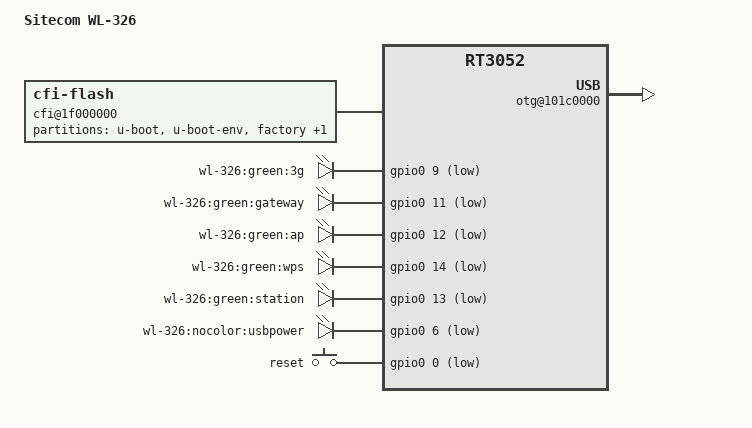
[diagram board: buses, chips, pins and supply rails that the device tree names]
/dts-v1/;

/include/ "rt3050.dtsi"

/ {
	compatible = "WL-326", "ralink,rt3052-soc";
	model = "Sitecom WL-326";

	pinctrl {
		state_default: pinctrl0 {
			gpio {
				ralink,group = "spi", "i2c", "jtag", "rgmii", "mdio", "uartf";
				ralink,function = "gpio";
			};
		};
	};

	cfi@1f000000 {
		compatible = "cfi-flash";
		reg = <0x1f000000 0x800000>;
		bank-width = <2>;
		device-width = <2>;
		#address-cells = <1>;
		#size-cells = <1>;

		partition@0 {
			label = "u-boot";
			reg = <0x0 0x30000>;
			read-only;
		};

		partition@30000 {
			label = "u-boot-env";
			reg = <0x30000 0x10000>;
			read-only;
		};

		factory: partition@40000 {
			label = "factory";
			reg = <0x40000 0x10000>;
			read-only;
		};

		partition@50000 {
			label = "firmware";
			reg = <0x50000 0x3c8000>;
		};
	};

	esw@10110000 {
		ralink,portmap = <0x2f>;
	};

	wmac@10180000 {
		ralink,mtd-eeprom = <&factory 0>;
	};

	gpio-leds {
		compatible = "gpio-leds";

		3g {
			label = "wl-326:green:3g";
			gpios = <&gpio0 9 1>;
		};

		gateway {
			label = "wl-326:green:gateway";
			gpios = <&gpio0 11 1>;
		};

		ap {
			label = "wl-326:green:ap";
			gpios = <&gpio0 12 1>;
		};

		wps {
			label = "wl-326:green:wps";
			gpios = <&gpio0 14 1>;
		};

		station {
			label = "wl-326:green:station";
			gpios = <&gpio0 13 1>;
		};

		usbpower {
			label = "wl-326:nocolor:usbpower";
			gpios = <&gpio0 6 1>;
		};
	};

	gpio-keys-polled {
		compatible = "gpio-keys-polled";
		#address-cells = <1>;
		#size-cells = <0>;

		poll-interval = <20>;

		reset {
			label = "reset";
			gpios = <&gpio0 0 1>;
			linux,code = <0x198>;
		};

	};

	otg@101c0000 {
		status = "okay";
	};

};
